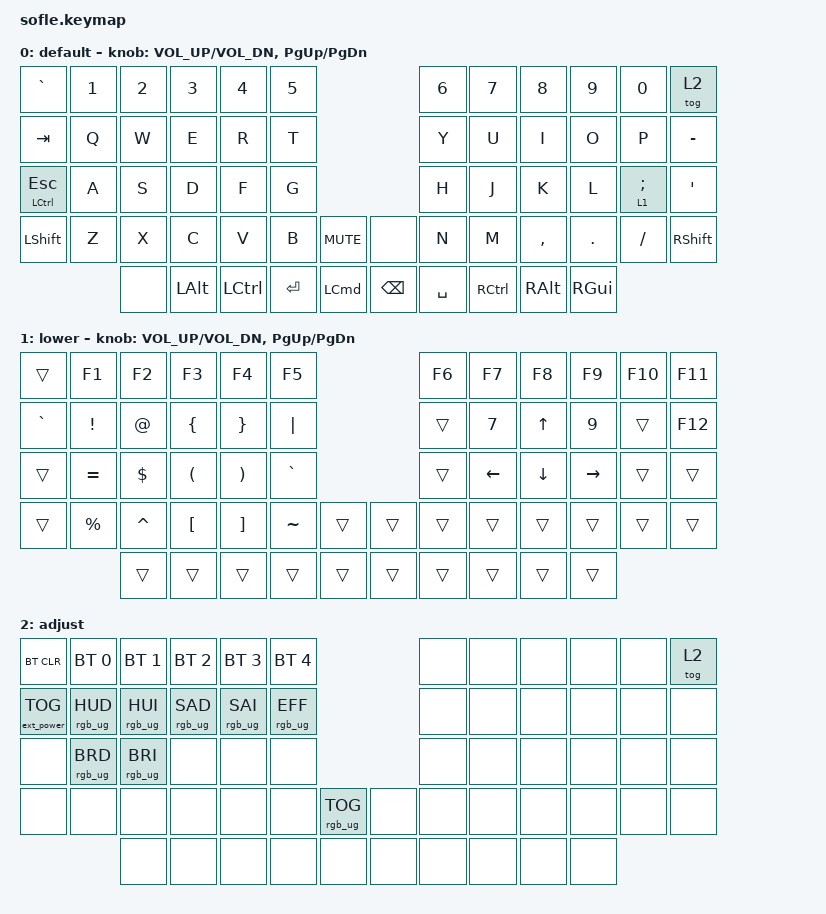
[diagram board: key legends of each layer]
/*
 * Copyright (c) 2020 The ZMK Contributors
 *
 * SPDX-License-Identifier: MIT
 */

#include <behaviors.dtsi>
#include <dt-bindings/zmk/bt.h>
#include <dt-bindings/zmk/ext_power.h>
#include <dt-bindings/zmk/keys.h>
#include <dt-bindings/zmk/rgb.h>

#define BASE 0
#define LOWER 1
#define RAISE 2
#define ADJUST 3

/ {
    // Activate ADJUST layer by pressing raise and lower

    conditional_layers {
        compatible = "zmk,conditional-layers";

        adjust_layer {
            if-layers = <1 2>;
            then-layer = <2>;
        };
    };

    keymap {
        compatible = "zmk,keymap";

        default_layer {
            display-name = "default";

            // ------------------------------------------------------------------------------------------------------------
            // |   `   |  1  |  2  |  3   |  4   |  5   |                   |  6   |  7    |  8    |  9   |   0   |       |
            // |  ESC  |  Q  |  W  |  E   |  R   |  T   |                   |  Y   |  U    |  I    |  O   |   P   | BKSPC |
            // |  TAB  |  A  |  S  |  D   |  F   |  G   |                   |  H   |  J    |  K    |  L   |   ;   |   '   |
            // | SHIFT |  Z  |  X  |  C   |  V   |  B   |  MUTE  |  |       |  N   |  M    |  ,    |  .   |   /   | SHIFT |
            //               | GUI | ALT  | CTRL | LOWER|  ENTER |  | SPACE | RAISE| CTRL  | ALT   | GUI  |

            bindings = <
&kp GRAVE                &kp N1  &kp N2  &kp N3    &kp N4     &kp N5                                        &kp N6     &kp N7     &kp N8     &kp N9    &kp N0           &tog 2
&kp TAB                  &kp Q   &kp W   &kp E     &kp R      &kp T                                         &kp Y      &kp U      &kp I      &kp O     &kp P            &kp MINUS
&mt LEFT_CONTROL ESCAPE  &kp A   &kp S   &kp D     &kp F      &kp G                                         &kp H      &kp J      &kp K      &kp L     &lt 1 SEMICOLON  &kp SQT
&kp LSHFT                &kp Z   &kp X   &kp C     &kp V      &kp B      &kp C_MUTE          &none          &kp N      &kp M      &kp COMMA  &kp DOT   &kp FSLH         &kp RSHFT
                                 &none   &kp LALT  &kp LCTRL  &kp ENTER  &kp LEFT_COMMAND    &kp BACKSPACE  &kp SPACE  &kp RCTRL  &kp RALT   &kp RGUI
            >;

            sensor-bindings = <&inc_dec_kp C_VOL_UP C_VOL_DN &inc_dec_kp PG_UP PG_DN>;
        };

        lower_layer {
            display-name = "lower";

            // TODO: Some binds are waiting for shifted keycode support.
            // ------------------------------------------------------------------------------------------------------------
            // |       |  F1 |  F2 |  F3  |  F4  |  F5  |                   |  F6  |  F7   |  F8   |  F9  |  F10  |  F11  |
            // |   `   |  1  |  2  |  3   |  4   |  5   |                   |  6   |  7    |  8    |  9   |   0   |  F12  |
            // |       |  !  |  @  |  #   |  $   |  %   |                   |  ^   |  &    |  *    |  (   |   )   |   |   |
            // |       |  =  |  -  |  +   |  {   |  }   |        |  |       |  [   |  ]    |  ;    |  :   |   \   |       |
            //               |     |      |      |      |        |  |       |      |       |       |      |

            bindings = <
&trans     &kp F1           &kp F2      &kp F3                &kp F4                 &kp F5                       &kp F6  &kp F7    &kp F8        &kp F9     &kp F10  &kp F11
&kp GRAVE  &kp EXCLAMATION  &kp AT      &kp LEFT_BRACE        &kp RIGHT_BRACE        &kp PIPE                     &trans  &kp N7    &kp UP_ARROW  &kp N9     &trans   &kp F12
&trans     &kp EQUAL        &kp DOLLAR  &kp LEFT_PARENTHESIS  &kp RIGHT_PARENTHESIS  &kp GRAVE                    &trans  &kp LEFT  &kp DOWN      &kp RIGHT  &trans   &trans
&trans     &kp PERCENT      &kp CARET   &kp LEFT_BRACKET      &kp RIGHT_BRACKET      &kp TILDE  &trans    &trans  &trans  &trans    &trans        &trans     &trans   &trans
                            &trans      &trans                &trans                 &trans     &trans    &trans  &trans  &trans    &trans        &trans
            >;

            sensor-bindings = <&inc_dec_kp C_VOL_UP C_VOL_DN &inc_dec_kp PG_UP PG_DN>;
        };

        adjust_layer {
            // ----------------------------------------------------------------------------------------------------------------------------
            // | BTCLR  |  BT1    |  BT2    |   BT3   |   BT4   |   BT5   |                  |      |      |       |      |       |       |
            // | EXTPWR | RGB_HUD | RGB_HUI | RGB_SAD | RGB_SAI | RGB_EFF |                  |      |      |       |      |       |       |
            // |        | RGB_BRD | RGB_BRI |         |         |         |                  |      |      |       |      |       |       |
            // |        |         |         |         |         |         | RGB_TOG | |      |      |      |       |      |       |       |
            //                    |         |         |         |         |         | |      |      |      |       |      |

            display-name = "adjust";
            bindings = <
&bt BT_CLR         &bt BT_SEL 0     &bt BT_SEL 1     &bt BT_SEL 2     &bt BT_SEL 3     &bt BT_SEL 4                               &none  &none  &none  &none  &none  &tog 2
&ext_power EP_TOG  &rgb_ug RGB_HUD  &rgb_ug RGB_HUI  &rgb_ug RGB_SAD  &rgb_ug RGB_SAI  &rgb_ug RGB_EFF                            &none  &none  &none  &none  &none  &none
&none              &rgb_ug RGB_BRD  &rgb_ug RGB_BRI  &none            &none            &none                                      &none  &none  &none  &none  &none  &none
&none              &none            &none            &none            &none            &none            &rgb_ug RGB_TOG    &none  &none  &none  &none  &none  &none  &none
                                    &none            &none            &none            &none            &none              &none  &none  &none  &none  &none
            >;
        };
    };
};
